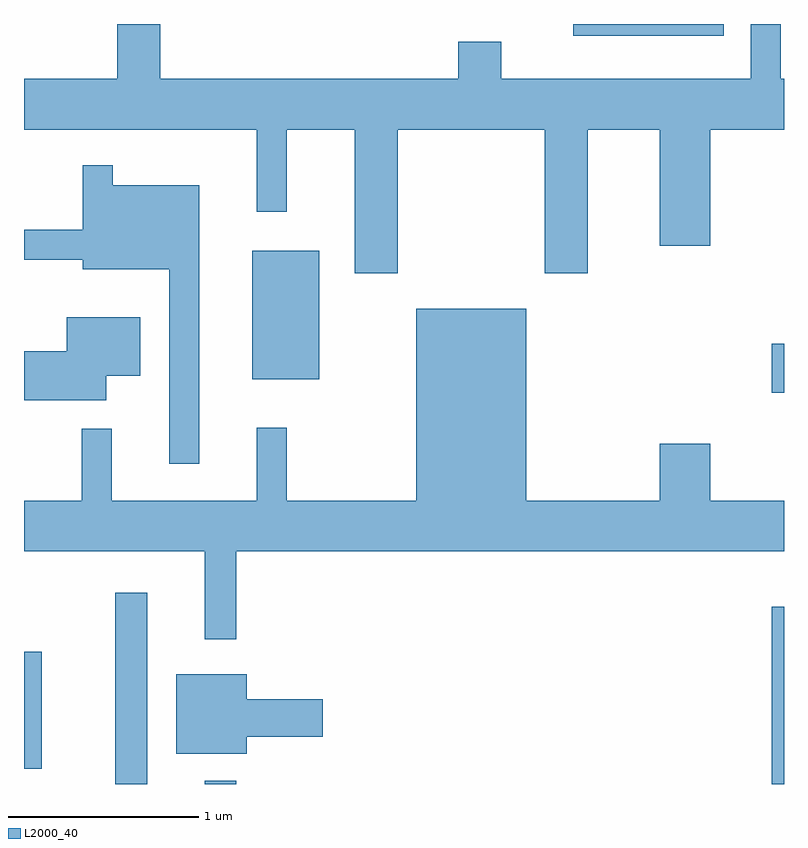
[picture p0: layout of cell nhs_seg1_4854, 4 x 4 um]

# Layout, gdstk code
import gdstk
lib = gdstk.Library(unit=1e-6, precision=1e-09)
def R(c, l, rs):  # rectangles x0, y0, x1, y1
    for r in rs: c.add(gdstk.rectangle(r[:2], r[2:], *l))
def P(c, l, *ps):  # polygons
    for p in ps: c.add(gdstk.Polygon(p, *l))
L2000_40 = (2000, 40)

nhs_seg1_4854 = lib.new_cell('nhs_seg1_4854')
R(nhs_seg1_4854, L2000_40, [(332.091,871.712,332.259,872.718), (332.561,871.712,332.729,871.728), (335.546,871.712,335.611,872.644), (331.611,871.791,331.704,872.409), (335.546,873.771,335.611,874.029), (332.811,873.841,333.164,874.519), (334.501,875.651,335.293,875.712)])
P(nhs_seg1_4854, L2000_40, [(333.579,875.156),(334.351,875.156),(334.351,874.401),(334.579,874.401),(334.579,875.156),(334.956,875.156),(334.956,874.546),(335.224,874.546),(335.224,875.156),(335.611,875.156),(335.611,875.424),(335.594,875.424),(335.594,875.712),(335.436,875.712),(335.436,875.424),(334.124,875.424),(334.124,875.619),(333.896,875.619),(333.896,875.424),(332.329,875.424),(332.329,875.712),(332.101,875.712),(332.101,875.424),(331.611,875.424),(331.611,875.156),(332.836,875.156),(332.836,874.723),(332.994,874.723),(332.994,875.156),(333.351,875.156),(333.351,874.401),(333.579,874.401)],
  [(332.534,874.864),(332.079,874.864),(332.079,874.968),(331.921,874.968),(331.921,874.629),(331.611,874.629),(331.611,874.471),(331.921,874.471),(331.921,874.421),(332.376,874.421),(332.376,873.398),(332.534,873.398)],
  [(332.729,872.936),(335.611,872.936),(335.611,873.204),(335.224,873.204),(335.224,873.504),(334.956,873.504),(334.956,873.204),(334.254,873.204),(334.254,874.214),(333.676,874.214),(333.676,873.204),(332.994,873.204),(332.994,873.588),(332.836,873.588),(332.836,873.204),(332.074,873.204),(332.074,873.583),(331.916,873.583),(331.916,873.204),(331.611,873.204),(331.611,872.936),(332.561,872.936),(332.561,872.473),(332.729,872.473)],
  [(332.044,873.861),(332.224,873.861),(332.224,874.169),(331.836,874.169),(331.836,873.989),(331.611,873.989),(331.611,873.731),(332.044,873.731)],
  [(332.784,871.961),(333.184,871.961),(333.184,872.159),(332.784,872.159),(332.784,872.289),(332.411,872.289),(332.411,871.871),(332.784,871.871)])

lib.write_gds('nhs_seg1_4854.gds')
